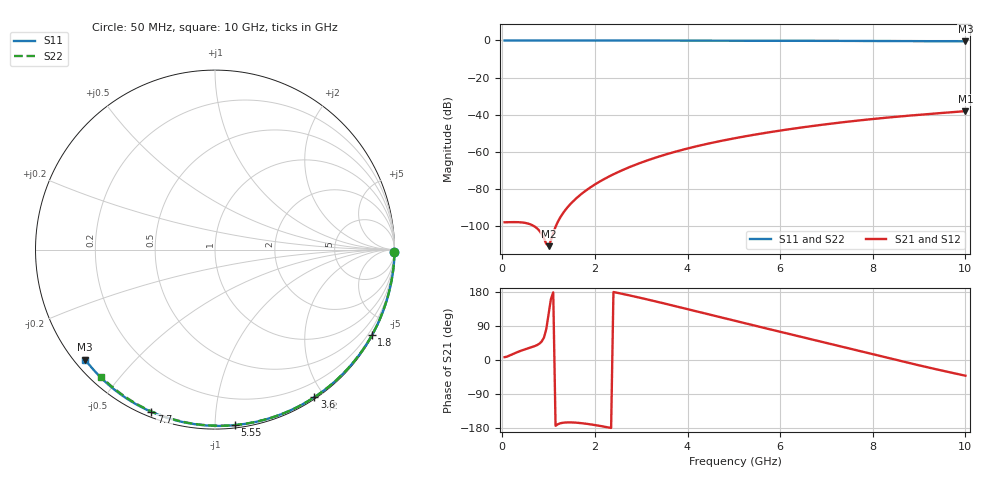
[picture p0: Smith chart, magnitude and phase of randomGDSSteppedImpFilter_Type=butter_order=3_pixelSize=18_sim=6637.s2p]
! freq	dB(S11)	phase(S11)	dB(S12)	phase(S12)
!  dB(S21)	phase(S21)	dB(S22)	phase(S22)
!S-par simulation data
#  GHz  S  DB  R 50
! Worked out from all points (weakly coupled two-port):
!   200 points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, 50 MHz to 10 GHz, reference 50 ohm
!   highest |S21| = -38.10 dB at 10 GHz (marker M1); lowest = -110.9 dB at 1 GHz (marker M2)
!   lowest |S11| = -0.5 dB at 10 GHz (marker M3), VSWR 37.30, Z = 1.52 - j18.3 ohm
!   |S11| at or under -10 dB: nowhere
!   |S22| runs from -0.4 to 0.0 dB; largest |S21 - S12| = 0
!   S11 on the Smith chart (normalised r, x): 50 MHz: open; 1.8 GHz: 0.03, -3.91; 3.6 GHz: 0.02, -1.88; 5.55 GHz: 0.02, -1.12; 7.7 GHz: 0.02, -0.68; 10 GHz: 0.03, -0.37
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0.05  -0.00 -0.8  -98.01 7.5  -98.01 7.5  -0.00 -0.8
0.5  -0.01 -8.1  -98.36 28.5  -98.36 28.5  -0.01 -7.6
1  -0.02 -16.1  -110.88 121.7  -110.88 121.7  -0.02 -15.1
1.75  -0.04 -27.9  -81.93 -167.3  -81.93 -167.3  -0.03 -26.3
1.8  -0.04 -28.7  -80.99 -168.0  -80.99 -168.0  -0.03 -27.0
1.85  -0.04 -29.5  -80.10 -168.9  -80.10 -168.9  -0.04 -27.8
2.15  -0.04 -34.1  -75.40 -174.8  -75.40 -174.8  -0.04 -32.2
2.35  -0.05 -37.2  -72.75 -179.4  -72.75 -179.4  -0.05 -35.1
2.55  -0.05 -40.3  -70.38 175.7  -70.38 175.7  -0.05 -38.0
2.95  -0.06 -46.3  -66.28 164.9  -66.28 164.9  -0.06 -43.7
3.4  -0.07 -53.1  -62.44 152.1  -62.44 152.1  -0.07 -50.1
3.6  -0.08 -56.0  -60.94 146.2  -60.94 146.2  -0.07 -52.9
3.9  -0.08 -60.4  -58.87 137.2  -58.87 137.2  -0.08 -57.0
4.3  -0.09 -66.1  -56.43 125.2  -56.43 125.2  -0.09 -62.5
5.05  -0.12 -76.7  -52.55 102.7  -52.55 102.7  -0.11 -72.5
5.55  -0.14 -83.5  -50.36 87.8  -50.36 87.8  -0.13 -79.0
6.1  -0.16 -90.9  -48.20 71.5  -48.20 71.5  -0.15 -85.9
6.7  -0.19 -98.8  -46.11 53.7  -46.11 53.7  -0.18 -93.4
7.7  -0.26 -111.5  -43.12 24.0  -43.12 24.0  -0.24 -105.4
8.35  -0.31 -119.6  -41.49 4.7  -41.49 4.7  -0.29 -113.0
9.2  -0.38 -130.0  -39.67 -19.8  -39.67 -19.8  -0.36 -122.8
10  -0.47 -139.7  -38.10 -41.4  -38.10 -41.4  -0.44 -131.9
